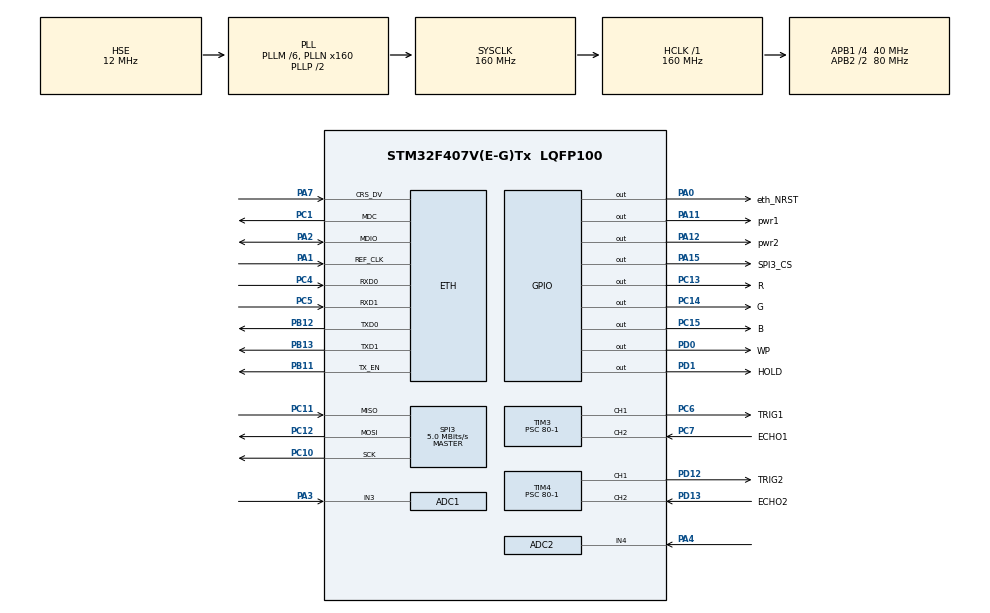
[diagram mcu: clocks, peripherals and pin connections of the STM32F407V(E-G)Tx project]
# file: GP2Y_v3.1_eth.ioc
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ADC1.Channel-0\#ChannelRegularConversion=ADC_CHANNEL_3
ADC1.Channel-1\#ChannelRegularConversion=ADC_CHANNEL_3
ADC1.Channel-10\#ChannelRegularConversion=ADC_CHANNEL_3
ADC1.Channel-11\#ChannelRegularConversion=ADC_CHANNEL_3
ADC1.Channel-12\#ChannelRegularConversion=ADC_CHANNEL_3
ADC1.Channel-13\#ChannelRegularConversion=ADC_CHANNEL_3
ADC1.Channel-14\#ChannelRegularConversion=ADC_CHANNEL_3
ADC1.Channel-15\#ChannelRegularConversion=ADC_CHANNEL_3
ADC1.Channel-2\#ChannelRegularConversion=ADC_CHANNEL_3
ADC1.Channel-3\#ChannelRegularConversion=ADC_CHANNEL_3
ADC1.Channel-4\#ChannelRegularConversion=ADC_CHANNEL_3
ADC1.Channel-5\#ChannelRegularConversion=ADC_CHANNEL_3
ADC1.Channel-6\#ChannelRegularConversion=ADC_CHANNEL_3
ADC1.Channel-7\#ChannelRegularConversion=ADC_CHANNEL_3
ADC1.Channel-8\#ChannelRegularConversion=ADC_CHANNEL_3
ADC1.Channel-9\#ChannelRegularConversion=ADC_CHANNEL_3
ADC1.DMAContinuousRequests=ENABLE
ADC1.ExternalTrigConv=ADC_SOFTWARE_START
ADC1.NbrOfConversion=16
ADC1.NbrOfConversionFlag=1
ADC1.Rank-0\#ChannelRegularConversion=1
ADC1.Rank-1\#ChannelRegularConversion=2
ADC1.Rank-10\#ChannelRegularConversion=11
ADC1.Rank-11\#ChannelRegularConversion=12
ADC1.Rank-12\#ChannelRegularConversion=13
ADC1.Rank-13\#ChannelRegularConversion=14
ADC1.Rank-14\#ChannelRegularConversion=15
ADC1.Rank-15\#ChannelRegularConversion=16
ADC1.Rank-2\#ChannelRegularConversion=3
ADC1.Rank-3\#ChannelRegularConversion=4
ADC1.Rank-4\#ChannelRegularConversion=5
ADC1.Rank-5\#ChannelRegularConversion=6
ADC1.Rank-6\#ChannelRegularConversion=7
ADC1.Rank-7\#ChannelRegularConversion=8
ADC1.Rank-8\#ChannelRegularConversion=9
ADC1.Rank-9\#ChannelRegularConversion=10
ADC1.SamplingTime-0\#ChannelRegularConversion=ADC_SAMPLETIME_480CYCLES
ADC1.SamplingTime-1\#ChannelRegularConversion=ADC_SAMPLETIME_480CYCLES
ADC1.SamplingTime-10\#ChannelRegularConversion=ADC_SAMPLETIME_480CYCLES
ADC1.SamplingTime-11\#ChannelRegularConversion=ADC_SAMPLETIME_480CYCLES
ADC1.SamplingTime-12\#ChannelRegularConversion=ADC_SAMPLETIME_480CYCLES
ADC1.SamplingTime-13\#ChannelRegularConversion=ADC_SAMPLETIME_480CYCLES
ADC1.SamplingTime-14\#ChannelRegularConversion=ADC_SAMPLETIME_480CYCLES
ADC1.SamplingTime-15\#ChannelRegularConversion=ADC_SAMPLETIME_480CYCLES
ADC1.SamplingTime-2\#ChannelRegularConversion=ADC_SAMPLETIME_480CYCLES
ADC1.SamplingTime-3\#ChannelRegularConversion=ADC_SAMPLETIME_480CYCLES
ADC1.SamplingTime-4\#ChannelRegularConversion=ADC_SAMPLETIME_480CYCLES
ADC1.SamplingTime-5\#ChannelRegularConversion=ADC_SAMPLETIME_480CYCLES
ADC1.SamplingTime-6\#ChannelRegularConversion=ADC_SAMPLETIME_480CYCLES
ADC1.SamplingTime-7\#ChannelRegularConversion=ADC_SAMPLETIME_480CYCLES
ADC1.SamplingTime-8\#ChannelRegularConversion=ADC_SAMPLETIME_480CYCLES
ADC1.SamplingTime-9\#ChannelRegularConversion=ADC_SAMPLETIME_480CYCLES
ADC1.master=1
ADC2.Channel-0\#ChannelRegularConversion=ADC_CHANNEL_4
ADC2.Channel-1\#ChannelRegularConversion=ADC_CHANNEL_4
ADC2.Channel-10\#ChannelRegularConversion=ADC_CHANNEL_4
ADC2.Channel-11\#ChannelRegularConversion=ADC_CHANNEL_4
ADC2.Channel-12\#ChannelRegularConversion=ADC_CHANNEL_4
ADC2.Channel-13\#ChannelRegularConversion=ADC_CHANNEL_4
ADC2.Channel-14\#ChannelRegularConversion=ADC_CHANNEL_4
ADC2.Channel-15\#ChannelRegularConversion=ADC_CHANNEL_4
ADC2.Channel-2\#ChannelRegularConversion=ADC_CHANNEL_4
ADC2.Channel-3\#ChannelRegularConversion=ADC_CHANNEL_4
ADC2.Channel-4\#ChannelRegularConversion=ADC_CHANNEL_4
ADC2.Channel-5\#ChannelRegularConversion=ADC_CHANNEL_4
ADC2.Channel-6\#ChannelRegularConversion=ADC_CHANNEL_4
ADC2.Channel-7\#ChannelRegularConversion=ADC_CHANNEL_4
ADC2.Channel-8\#ChannelRegularConversion=ADC_CHANNEL_4
ADC2.Channel-9\#ChannelRegularConversion=ADC_CHANNEL_4
ADC2.ContinuousConvMode=DISABLE
ADC2.DMAContinuousRequests=ENABLE
ADC2.DiscontinuousConvMode=DISABLE
ADC2.ExternalTrigConv=ADC_SOFTWARE_START
ADC2.NbrOfConversion=16
ADC2.NbrOfConversionFlag=1
ADC2.Rank-0\#ChannelRegularConversion=1
ADC2.Rank-1\#ChannelRegularConversion=2
ADC2.Rank-10\#ChannelRegularConversion=11
ADC2.Rank-11\#ChannelRegularConversion=12
ADC2.Rank-12\#ChannelRegularConversion=13
ADC2.Rank-13\#ChannelRegularConversion=14
ADC2.Rank-14\#ChannelRegularConversion=15
ADC2.Rank-15\#ChannelRegularConversion=16
ADC2.Rank-2\#ChannelRegularConversion=3
ADC2.Rank-3\#ChannelRegularConversion=4
ADC2.Rank-4\#ChannelRegularConversion=5
ADC2.Rank-5\#ChannelRegularConversion=6
ADC2.Rank-6\#ChannelRegularConversion=7
ADC2.Rank-7\#ChannelRegularConversion=8
ADC2.Rank-8\#ChannelRegularConversion=9
ADC2.Rank-9\#ChannelRegularConversion=10
ADC2.SamplingTime-0\#ChannelRegularConversion=ADC_SAMPLETIME_480CYCLES
ADC2.SamplingTime-1\#ChannelRegularConversion=ADC_SAMPLETIME_480CYCLES
ADC2.SamplingTime-10\#ChannelRegularConversion=ADC_SAMPLETIME_480CYCLES
ADC2.SamplingTime-11\#ChannelRegularConversion=ADC_SAMPLETIME_480CYCLES
ADC2.SamplingTime-12\#ChannelRegularConversion=ADC_SAMPLETIME_480CYCLES
ADC2.SamplingTime-13\#ChannelRegularConversion=ADC_SAMPLETIME_480CYCLES
ADC2.SamplingTime-14\#ChannelRegularConversion=ADC_SAMPLETIME_480CYCLES
ADC2.SamplingTime-15\#ChannelRegularConversion=ADC_SAMPLETIME_480CYCLES
ADC2.SamplingTime-2\#ChannelRegularConversion=ADC_SAMPLETIME_480CYCLES
ADC2.SamplingTime-3\#ChannelRegularConversion=ADC_SAMPLETIME_480CYCLES
ADC2.SamplingTime-4\#ChannelRegularConversion=ADC_SAMPLETIME_480CYCLES
ADC2.SamplingTime-5\#ChannelRegularConversion=ADC_SAMPLETIME_480CYCLES
ADC2.SamplingTime-6\#ChannelRegularConversion=ADC_SAMPLETIME_480CYCLES
ADC2.SamplingTime-7\#ChannelRegularConversion=ADC_SAMPLETIME_480CYCLES
ADC2.SamplingTime-8\#ChannelRegularConversion=ADC_SAMPLETIME_480CYCLES
ADC2.SamplingTime-9\#ChannelRegularConversion=ADC_SAMPLETIME_480CYCLES
ADC2.ScanConvMode=ENABLE
Dma.ADC1.0.Direction=DMA_PERIPH_TO_MEMORY
Dma.ADC1.0.FIFOMode=DMA_FIFOMODE_DISABLE
Dma.ADC1.0.Instance=DMA2_Stream0
Dma.ADC1.0.MemDataAlignment=DMA_MDATAALIGN_HALFWORD
Dma.ADC1.0.MemInc=DMA_MINC_ENABLE
Dma.ADC1.0.Mode=DMA_CIRCULAR
Dma.ADC1.0.PeriphDataAlignment=DMA_PDATAALIGN_HALFWORD
Dma.ADC1.0.PeriphInc=DMA_PINC_DISABLE
Dma.ADC1.0.Priority=DMA_PRIORITY_LOW
Dma.ADC2.1.Direction=DMA_PERIPH_TO_MEMORY
Dma.ADC2.1.FIFOMode=DMA_FIFOMODE_DISABLE
Dma.ADC2.1.Instance=DMA2_Stream2
Dma.ADC2.1.MemDataAlignment=DMA_MDATAALIGN_HALFWORD
Dma.ADC2.1.MemInc=DMA_MINC_ENABLE
Dma.ADC2.1.Mode=DMA_CIRCULAR
Dma.ADC2.1.PeriphDataAlignment=DMA_PDATAALIGN_HALFWORD
Dma.ADC2.1.PeriphInc=DMA_PINC_DISABLE
Dma.ADC2.1.Priority=DMA_PRIORITY_LOW
Dma.Request0=ADC1
Dma.Request1=ADC2
ETH.MACAddr=44\:84\:23\:84\:44\:76
ETH.MediaInterface=HAL_ETH_RMII_MODE
FREERTOS.BinarySemaphores01=ADC_end,Dynamic,NULL;ADC_end2,Dynamic,NULL
FREERTOS.Mutexes01=s2DistanceMutex,Dynamic,NULL;mutexADC,Dynamic,NULL;s1DistanceMutex,Dynamic,NULL;setMutex,Dynamic,NULL
FREERTOS.Tasks01=MainTask,0,256,mainTask,Default,NULL,Dynamic,NULL,NULL;LED,0,128,led,Default,NULL,Dynamic,NULL,NULL;ethTas,0,512,eth_Task,Default,NULL,Dynamic,NULL,NULL;MainTask2,0,256,mainTask2,Default,NULL,Dynamic,NULL,NULL;debug_udp,0,512,Debug_udp,Default,NULL,Dynamic,NULL,NULL
FREERTOS.configTOTAL_HEAP_SIZE=24000
FREERTOS.configUSE_NEWLIB_REENTRANT=1
LWIP.BSP.number=1
LWIP.LWIP_DNS=1
LWIP.LWIP_NETIF_EXT_STATUS_CALLBACK=1
LWIP.LWIP_NETIF_STATUS_CALLBACK=1
LWIP.Version=v2.1.2_Cube
LWIP0.BSP.STBoard=false
LWIP0.BSP.api=BSP_COMPONENT_DRIVER
LWIP0.BSP.component=LAN8742
LWIP0.BSP.instance=LAN8742
LWIP0.BSP.name=Driver_PHY
LWIP0.BSP.semaphore=S_LAN8742
LWIP0.BSP.solution=LAN8742
Mcu.Family=STM32F4
Mcu.Name=STM32F407V(E-G)Tx
Mcu.Package=LQFP100
NVIC.DMA2_Stream0_IRQn=true\:5\:0\:false\:false\:true\:true\:false\:true\:true
NVIC.DMA2_Stream2_IRQn=true\:5\:0\:false\:false\:true\:true\:false\:true\:true
NVIC.ETH_IRQn=true\:5\:0\:false\:false\:true\:true\:false\:true\:true
NVIC.PriorityGroup=NVIC_PRIORITYGROUP_4
NVIC.TIM3_IRQn=true\:5\:0\:false\:false\:true\:true\:true\:true\:true
NVIC.TIM4_IRQn=true\:5\:0\:false\:false\:true\:true\:true\:true\:true
NVIC.TIM7_IRQn=true\:15\:0\:false\:false\:true\:false\:false\:true\:true
NVIC.TimeBase=TIM7_IRQn
NVIC.TimeBaseIP=TIM7
PA0-WKUP.GPIO_Label=eth_NRST
PA0-WKUP.Signal=GPIO_Output
PA1.Mode=RMII
PA1.Signal=ETH_REF_CLK
PA11.GPIO_Label=pwr1
PA11.GPIO_ModeDefaultOutputPP=GPIO_MODE_OUTPUT_PP
PA11.GPIO_PuPd=GPIO_NOPULL
PA11.Signal=GPIO_Output
PA12.GPIO_Label=pwr2
PA12.GPIO_ModeDefaultOutputPP=GPIO_MODE_OUTPUT_PP
PA12.GPIO_PuPd=GPIO_NOPULL
PA12.Signal=GPIO_Output
PA13.Mode=Serial_Wire
PA13.Signal=SYS_JTMS-SWDIO
PA14.Mode=Serial_Wire
PA14.Signal=SYS_JTCK-SWCLK
PA15.GPIO_Label=SPI3_CS
PA15.Signal=GPIO_Output
PA2.Mode=RMII
PA2.Signal=ETH_MDIO
PA3.Signal=ADCx_IN3
PA4.Signal=ADCx_IN4
PA7.Mode=RMII
PA7.Signal=ETH_CRS_DV
PB11.Mode=RMII
PB11.Signal=ETH_TX_EN
PB12.Mode=RMII
PB12.Signal=ETH_TXD0
PB13.Mode=RMII
PB13.Signal=ETH_TXD1
PC1.Mode=RMII
PC1.Signal=ETH_MDC
PC10.Mode=Full_Duplex_Master
PC10.Signal=SPI3_SCK
PC11.Mode=Full_Duplex_Master
PC11.Signal=SPI3_MISO
PC12.Mode=Full_Duplex_Master
PC12.Signal=SPI3_MOSI
PC13-ANTI_TAMP.GPIO_Label=R
PC13-ANTI_TAMP.Signal=GPIO_Output
PC14-OSC32_IN.GPIO_Label=G
PC14-OSC32_IN.Signal=GPIO_Output
PC15-OSC32_OUT.GPIO_Label=B
PC15-OSC32_OUT.Signal=GPIO_Output
PC4.Mode=RMII
PC4.Signal=ETH_RXD0
PC5.Mode=RMII
PC5.Signal=ETH_RXD1
PC6.GPIO_Label=TRIG1
PC6.Signal=S_TIM3_CH1
PC7.GPIO_Label=ECHO1
PC7.Signal=S_TIM3_CH2
PD0.GPIO_Label=WP
PD0.Signal=GPIO_Output
PD1.GPIO_Label=HOLD
PD1.Signal=GPIO_Output
PD12.GPIO_Label=TRIG2
PD12.Signal=S_TIM4_CH1
PD13.GPIO_Label=ECHO2
PD13.Signal=S_TIM4_CH2
PH0-OSC_IN.Mode=HSE-External-Oscillator
PH0-OSC_IN.Signal=RCC_OSC_IN
PH1-OSC_OUT.Mode=HSE-External-Oscillator
PH1-OSC_OUT.Signal=RCC_OSC_OUT
ProjectManager.HeapSize=0x2000
ProjectManager.StackSize=0x4000
ProjectManager.TargetToolchain=STM32CubeIDE
RCC.48MHZClocksFreq_Value=80000000
RCC.AHBFreq_Value=160000000
RCC.APB1CLKDivider=RCC_HCLK_DIV4
RCC.APB1Freq_Value=40000000
RCC.APB1TimFreq_Value=80000000
RCC.APB2CLKDivider=RCC_HCLK_DIV2
RCC.APB2Freq_Value=80000000
RCC.APB2TimFreq_Value=160000000
RCC.CortexFreq_Value=160000000
RCC.HCLKFreq_Value=160000000
RCC.HSE_VALUE=12000000
RCC.HSI_VALUE=16000000
RCC.LSE_VALUE=32768
RCC.PLLM=6
RCC.PLLN=160
RCC.PLLSourceVirtual=RCC_PLLSOURCE_HSE
RCC.SYSCLKFreq_VALUE=160000000
RCC.SYSCLKSource=RCC_SYSCLKSOURCE_PLLCLK
RCC.VCOOutputFreq_Value=320000000
SH.ADCx_IN3.0=ADC1_IN3,IN3
SH.ADCx_IN4.0=ADC2_IN4,IN4
SH.S_TIM3_CH1.0=TIM3_CH1,PWM Generation1 CH1
SH.S_TIM3_CH2.0=TIM3_CH2,Input_Capture2_from_TI2
SH.S_TIM4_CH1.0=TIM4_CH1,PWM Generation1 CH1
SH.S_TIM4_CH2.0=TIM4_CH2,Input_Capture2_from_TI2
SPI3.BaudRatePrescaler=SPI_BAUDRATEPRESCALER_8
SPI3.CalculateBaudRate=5.0 MBits/s
SPI3.Direction=SPI_DIRECTION_2LINES
SPI3.Mode=SPI_MODE_MASTER
SPI3.VirtualType=VM_MASTER
TIM3.Channel-Input_Capture2_from_TI2=TIM_CHANNEL_2
TIM3.Channel-PWM\ Generation1\ CH1=TIM_CHANNEL_1
TIM3.Period=65535
TIM3.Prescaler=80-1
TIM3.TIM_MasterOutputTrigger=TIM_TRGO_RESET
TIM4.Channel-Input_Capture2_from_TI2=TIM_CHANNEL_2
TIM4.Channel-PWM\ Generation1\ CH1=TIM_CHANNEL_1
TIM4.Prescaler=80-1
VP_FREERTOS_VS_CMSIS_V1.Mode=CMSIS_V1
VP_LWIP_VS_Enabled.Mode=Enabled
VP_SYS_VS_tim7.Mode=TIM7
VP_TIM3_VS_ClockSourceINT.Mode=Internal
VP_TIM4_VS_ClockSourceINT.Mode=Internal
board=custom

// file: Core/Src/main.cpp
/* USER CODE BEGIN Header */
/**
 ******************************************************************************
 * @file           : main.c
 * @brief          : Main program body
 ******************************************************************************
 * @attention
 *
 * Copyright (c) 2022 STMicroelectronics.
 * All rights reserved.
 *
 * This software is licensed under terms that can be found in the LICENSE file
 * in the root directory of this software component.
 * If no LICENSE file comes with this software, it is provided AS-IS.
 *
 ******************************************************************************
 */
/* USER CODE END Header */
#include "main.h"
#include "cmsis_os.h"
#include "adc.h"
#include "dma.h"
#include "lwip.h"
#include "spi.h"
#include "tim.h"
#include "gpio.h"

/* USER CODE BEGIN Includes */
#include "flash_spi.h"
#include "Delay_us_DWT.h"
#include "LED.h"
#include "sensor.h"
/* USER CODE END Includes */

/* USER CODE BEGIN PV */
settings_t settings = {0, 0x0E};
//HCSR04Driver hcsr04Driver;
sensor Sensor1;
sensor Sensor2;
SensorType sensorType = NoInit;

uint32_t count_tic = 0; //для замеров времени выполнения кода
extern TIM_HandleTypeDef htim3;

led LED_IPadr;
led LED_error;
led LED_OSstart;

bool resetSettings = false;

// for SPI Flash
extern SPI_HandleTypeDef hspi3;
pins_spi_t ChipSelect = {SPI3_CS_GPIO_Port, SPI3_CS_Pin};
pins_spi_t WriteProtect = {WP_GPIO_Port, WP_Pin};
pins_spi_t Hold = {HOLD_GPIO_Port, HOLD_Pin};
flash mem_spi;

/* USER CODE END PV */

void SystemClock_Config(void);
void MX_FREERTOS_Init(void);

int main(void)
{

	/* MCU Configuration--------------------------------------------------------*/

	/* Reset of all peripherals, Initializes the Flash interface and the Systick. */
	HAL_Init();

	/* Configure the system clock */
	SystemClock_Config();

	/* Initialize all configured peripherals */
	MX_GPIO_Init();
	MX_DMA_Init();
	MX_ADC1_Init();
	MX_ADC2_Init();
	MX_SPI3_Init();
	MX_TIM3_Init();
	MX_TIM4_Init();
	/* USER CODE BEGIN 2 */
	HAL_GPIO_WritePin(eth_NRST_GPIO_Port, eth_NRST_Pin, GPIO_PIN_SET);

	HAL_GPIO_WritePin(HOLD_GPIO_Port, HOLD_Pin, GPIO_PIN_SET);
	HAL_GPIO_WritePin(WP_GPIO_Port, WP_Pin, GPIO_PIN_SET);

	mem_spi.Init(&hspi3, 0, ChipSelect, WriteProtect, Hold);

	mem_spi.Read(&settings);

	if ((settings.MAC_end == 0) | (settings.MAC_end == 0xFFFFFFFF) | resetSettings)
	{
		mem_spi.W25qxx_EraseSector(0);
		uint32_t s = 1;
		// for sensor 1
		settings.sensorSett[s].callDistanceMax = 4096;
		settings.sensorSett[s].callDistanceMin = 0;

		settings.sensorSett[s].timeParametrs[1].callTimeMax = 0xFFFFFFFF;
		settings.sensorSett[s].timeParametrs[1].callTimeMin = 0;
		settings.sensorSett[s].timeParametrs[1].timOutFalling = 10;

		settings.sensorSett[s].timeParametrs[2].callTimeMax = 0xFFFFFFFF;
		settings.sensorSett[s].timeParametrs[2].callTimeMin = 0;
		settings.sensorSett[s].timeParametrs[2].timOutFalling = 10;

		settings.sensorSett[s].timeParametrs[3].callTimeMax = 0xFFFFFFFF;
		settings.sensorSett[s].timeParametrs[3].callTimeMin = 0;
		settings.sensorSett[s].timeParametrs[3].timOutFalling = 10;

		settings.sensorSett[s].chanelCallTime = 1;
		settings.sensorSett[s].k_H = 0.1;
		settings.sensorSett[s].k_L = 0.03;
		settings.sensorSett[s].modePwr = 2;
		settings.sensorSett[s].offsetTime = 0;
		settings.sensorSett[s].sensorType = Optic;
		settings.sensorSett[s].timeCall = 5000;
		settings.sensorSett[s].triger = 100;

		// for sensor 1
		s = 2;
		settings.sensorSett[s].callDistanceMax = 4096;
		settings.sensorSett[s].callDistanceMin = 0;

		settings.sensorSett[s].timeParametrs[1].callTimeMax = 0xFFFFFFFF;
		settings.sensorSett[s].timeParametrs[1].callTimeMin = 0;
		settings.sensorSett[s].timeParametrs[1].timOutFalling = 10;

		settings.sensorSett[s].timeParametrs[2].callTimeMax = 0xFFFFFFFF;
		settings.sensorSett[s].timeParametrs[2].callTimeMin = 0;
		settings.sensorSett[s].timeParametrs[2].timOutFalling = 10;

		settings.sensorSett[s].timeParametrs[3].callTimeMax = 0xFFFFFFFF;
		settings.sensorSett[s].timeParametrs[3].callTimeMin = 0;
		settings.sensorSett[s].timeParametrs[3].timOutFalling = 10;

		settings.sensorSett[s].chanelCallTime = 1;
		settings.sensorSett[s].k_H = 0.1;
		settings.sensorSett[s].k_L = 0.03;
		settings.sensorSett[s].modePwr = 2;
		settings.sensorSett[s].offsetTime = 0;
		settings.sensorSett[s].sensorType = Optic;
		settings.sensorSett[s].timeCall = 5000;
		settings.sensorSett[s].triger = 100;

		settings.MAC_end = 0x05;

		mem_spi.Write(settings);

		mem_spi.Read(&settings);
	}
	/* USER CODE END 2 */

	/* Call init function for freertos objects (in freertos.c) */
	MX_FREERTOS_Init();

	/* Start scheduler */
	osKernelStart();

	/* We should never get here as control is now taken by the scheduler */
	/* Infinite loop */
	while (1)
	{

	}
}

void SystemClock_Config(void)
{
	RCC_OscInitTypeDef RCC_OscInitStruct = {0};
	RCC_ClkInitTypeDef RCC_ClkInitStruct = {0};

	/** Configure the main internal regulator output voltage
	 */
	__HAL_RCC_PWR_CLK_ENABLE();
	__HAL_PWR_VOLTAGESCALING_CONFIG(PWR_REGULATOR_VOLTAGE_SCALE1);

	/** Initializes the RCC Oscillators according to the specified parameters
	 * in the RCC_OscInitTypeDef structure.
	 */
	RCC_OscInitStruct.OscillatorType = RCC_OSCILLATORTYPE_HSE;
	RCC_OscInitStruct.HSEState = RCC_HSE_ON;
	RCC_OscInitStruct.PLL.PLLState = RCC_PLL_ON;
	RCC_OscInitStruct.PLL.PLLSource = RCC_PLLSOURCE_HSE;
	RCC_OscInitStruct.PLL.PLLM = 6;
	RCC_OscInitStruct.PLL.PLLN = 160;
	RCC_OscInitStruct.PLL.PLLP = RCC_PLLP_DIV2;
	RCC_OscInitStruct.PLL.PLLQ = 4;
	if (HAL_RCC_OscConfig(&RCC_OscInitStruct) != HAL_OK)
	{
		Error_Handler();
	}

	/** Initializes the CPU, AHB and APB buses clocks
	 */
	RCC_ClkInitStruct.ClockType = RCC_CLOCKTYPE_HCLK|RCC_CLOCKTYPE_SYSCLK
			|RCC_CLOCKTYPE_PCLK1|RCC_CLOCKTYPE_PCLK2;
	RCC_ClkInitStruct.SYSCLKSource = RCC_SYSCLKSOURCE_PLLCLK;
	RCC_ClkInitStruct.AHBCLKDivider = RCC_SYSCLK_DIV1;
	RCC_ClkInitStruct.APB1CLKDivider = RCC_HCLK_DIV4;
	RCC_ClkInitStruct.APB2CLKDivider = RCC_HCLK_DIV2;

	if (HAL_RCC_ClockConfig(&RCC_ClkInitStruct, FLASH_LATENCY_5) != HAL_OK)
	{
		Error_Handler();
	}
}

void HAL_TIM_PeriodElapsedCallback(TIM_HandleTypeDef *htim)
{
	if (htim->Instance == TIM7) {
		HAL_IncTick();
	}
	/* USER CODE BEGIN Callback 1 */
	if (htim->Instance == TIM4) {
		Sensor2._acknowledgeTimerUpdate();
	}
	if (htim->Instance == TIM3) {
		Sensor1._acknowledgeTimerUpdate();
	}
	/* USER CODE END Callback 1 */
}

void Error_Handler(void)
{
	__disable_irq();
	while (1)
	{
	}
}
